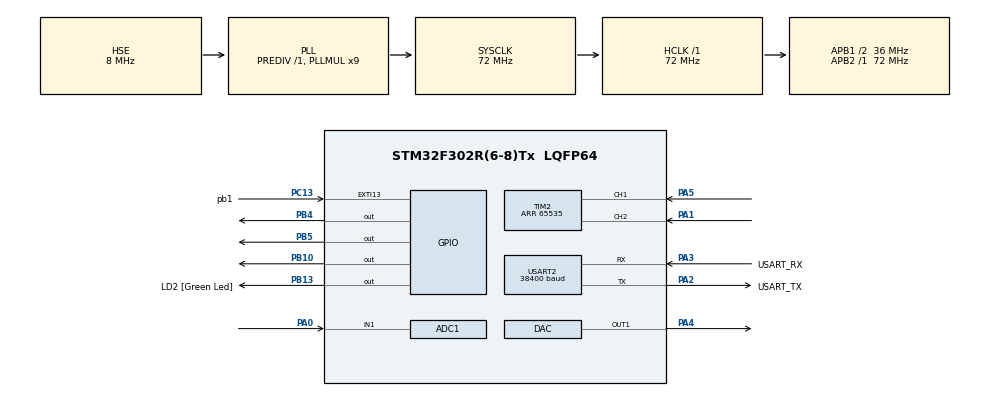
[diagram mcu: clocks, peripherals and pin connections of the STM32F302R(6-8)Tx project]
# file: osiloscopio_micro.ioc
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ADC1.Channel-1\#ChannelRegularConversion=ADC_CHANNEL_1
ADC1.ContinuousConvMode=ENABLE
ADC1.DMAContinuousRequests=ENABLE
ADC1.NbrOfConversionFlag=1
ADC1.Offset-1\#ChannelRegularConversion=0
ADC1.OffsetNumber-1\#ChannelRegularConversion=ADC_OFFSET_NONE
ADC1.Rank-1\#ChannelRegularConversion=1
ADC1.SamplingTime-1\#ChannelRegularConversion=ADC_SAMPLETIME_601CYCLES_5
ADC1.SamplingTimeOPAMP-1\#ChannelRegularConversion=ADC_SAMPLETIME_61CYCLES_5
ADC1.SubFamily=STM32F302x8
ADC1.master=1
DAC.DAC_Trigger=DAC_TRIGGER_T15_TRGO
Dma.ADC1.0.Direction=DMA_PERIPH_TO_MEMORY
Dma.ADC1.0.Instance=DMA1_Channel1
Dma.ADC1.0.MemDataAlignment=DMA_MDATAALIGN_WORD
Dma.ADC1.0.MemInc=DMA_MINC_ENABLE
Dma.ADC1.0.Mode=DMA_CIRCULAR
Dma.ADC1.0.PeriphDataAlignment=DMA_PDATAALIGN_WORD
Dma.ADC1.0.PeriphInc=DMA_PINC_DISABLE
Dma.ADC1.0.Priority=DMA_PRIORITY_LOW
Dma.DAC_CH1.1.Direction=DMA_MEMORY_TO_PERIPH
Dma.DAC_CH1.1.Instance=DMA1_Channel3
Dma.DAC_CH1.1.MemDataAlignment=DMA_MDATAALIGN_WORD
Dma.DAC_CH1.1.MemInc=DMA_MINC_ENABLE
Dma.DAC_CH1.1.Mode=DMA_CIRCULAR
Dma.DAC_CH1.1.PeriphDataAlignment=DMA_PDATAALIGN_WORD
Dma.DAC_CH1.1.PeriphInc=DMA_PINC_DISABLE
Dma.DAC_CH1.1.Priority=DMA_PRIORITY_LOW
Dma.Request0=ADC1
Dma.Request1=DAC_CH1
Mcu.Family=STM32F3
Mcu.Name=STM32F302R(6-8)Tx
Mcu.Package=LQFP64
NVIC.DMA1_Channel1_IRQn=true\:0\:0\:false\:false\:true\:false\:true\:true
NVIC.DMA1_Channel3_IRQn=true\:0\:0\:false\:false\:true\:false\:true\:true
NVIC.EXTI15_10_IRQn=true\:0\:0\:false\:false\:true\:true\:true\:true
NVIC.PriorityGroup=NVIC_PRIORITYGROUP_0
NVIC.TIM2_IRQn=true\:0\:0\:false\:false\:true\:true\:true\:true
PA0.Mode=IN1-Single-Ended
PA0.Signal=ADC1_IN1
PA1.Signal=S_TIM2_CH2
PA13.GPIO_Label=TMS
PA13.Mode=Serial_Wire
PA13.Signal=SYS_JTMS-SWDIO
PA14.GPIO_Label=TCK
PA14.Mode=Serial_Wire
PA14.Signal=SYS_JTCK-SWCLK
PA2.GPIO_Label=USART_TX
PA2.GPIO_Mode=GPIO_MODE_AF_PP
PA2.GPIO_PuPd=GPIO_NOPULL
PA2.GPIO_Speed=GPIO_SPEED_FREQ_LOW
PA2.Mode=Asynchronous
PA2.Signal=USART2_TX
PA3.GPIO_Label=USART_RX
PA3.GPIO_Mode=GPIO_MODE_AF_PP
PA3.GPIO_PuPd=GPIO_NOPULL
PA3.GPIO_Speed=GPIO_SPEED_FREQ_LOW
PA3.Mode=Asynchronous
PA3.Signal=USART2_RX
PA4.Signal=COMP_DAC1_group
PA5.Signal=S_TIM2_CH1_ETR
PB10.Signal=GPIO_Output
PB13.GPIO_Label=LD2 [Green Led]
PB13.Signal=GPIO_Output
PB3.GPIO_Label=SWO
PB3.Mode=Trace_Asynchronous_SW
PB3.Signal=SYS_JTDO-TRACESWO
PB4.Signal=GPIO_Output
PB5.Signal=GPIO_Output
PC13.GPIO_Label=pb1
PC13.Signal=GPXTI13
PC14\ -\ OSC32_IN.Signal=RCC_OSC32_IN
PC15\ -\ OSC32_OUT.Signal=RCC_OSC32_OUT
PF0-OSC_IN.Mode=HSE-External-Oscillator
PF0-OSC_IN.Signal=RCC_OSC_IN
PF1-OSC_OUT.Mode=HSE-External-Oscillator
PF1-OSC_OUT.Signal=RCC_OSC_OUT
ProjectManager.HeapSize=0x200
ProjectManager.StackSize=0x400
ProjectManager.TargetToolchain=STM32CubeIDE
RCC.AHBFreq_Value=72000000
RCC.APB1CLKDivider=RCC_HCLK_DIV2
RCC.APB1Freq_Value=36000000
RCC.APB1TimFreq_Value=72000000
RCC.APB2Freq_Value=72000000
RCC.APB2TimFreq_Value=72000000
RCC.CortexFreq_Value=72000000
RCC.HCLKFreq_Value=72000000
RCC.HSE_VALUE=8000000
RCC.HSI_VALUE=8000000
RCC.LSE_VALUE=32768
RCC.PLLM=8
RCC.PLLMUL=RCC_PLL_MUL9
RCC.PLLN=336
RCC.PLLP=RCC_PLLP_DIV4
RCC.PLLQ=7
RCC.PLLSourceVirtual=RCC_PLLSOURCE_HSE
RCC.SYSCLKFreq_VALUE=72000000
RCC.SYSCLKSourceVirtual=RCC_SYSCLKSOURCE_PLLCLK
RCC.USBFreq_Value=72000000
SH.COMP_DAC1_group.0=DAC_OUT1,DAC_OUT1
SH.S_TIM2_CH1_ETR.0=TIM2_CH1,Encoder_Interface
SH.S_TIM2_CH2.0=TIM2_CH2,Encoder_Interface
TIM15.Period=100
TIM15.Prescaler=72-1
TIM15.TIM_MasterOutputTrigger=TIM_TRGO_UPDATE
TIM2.EncoderMode=TIM_ENCODERMODE_TI12
TIM2.IC1Polarity=TIM_ICPOLARITY_FALLING
TIM2.IC2Polarity=TIM_ICPOLARITY_FALLING
TIM2.Period=65535
USART2.BaudRate=38400
USART2.VirtualMode-Asynchronous=VM_ASYNC
VP_TIM15_VS_ClockSourceINT.Mode=Internal
board=NUCLEO-F302R8

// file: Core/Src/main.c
/**************************************************************/

/**

               Instituto Tecnológico de Las Américas (ITLA)

                    Nombre: Julio de la Rosa Pérez

                         Matrícula: 2018-6732

                     Materia: Microcontroladores

                       Profesor: Wilkin Cedano

********************************************************************/
/* USER CODE END Header */
#include "main.h"

/* USER CODE BEGIN Includes */
#include "max_matrix_stm32.h"
#include <stdio.h>
#include <math.h>
#include <string.h>
/* USER CODE END Includes */

ADC_HandleTypeDef hadc1;
DMA_HandleTypeDef hdma_adc1;

DAC_HandleTypeDef hdac;
DMA_HandleTypeDef hdma_dac_ch1;

TIM_HandleTypeDef htim2;
TIM_HandleTypeDef htim15;

UART_HandleTypeDef huart2;

/* USER CODE BEGIN PV */
uint32_t adc;
char valor[11];
uint8_t offset = 0;
int encendido[8][8];
int onda = 0;
int voldiv = 0;
int boton = 0;
int pastpos = 0;
int read = 0;
int write = 0;
/* USER CODE END PV */

void SystemClock_Config(void);
static void MX_GPIO_Init(void);
static void MX_DMA_Init(void);
static void MX_USART2_UART_Init(void);
static void MX_TIM2_Init(void);
static void MX_ADC1_Init(void);
static void MX_DAC_Init(void);
static void MX_TIM15_Init(void);

/* USER CODE BEGIN 0 */
uint32_t counter = 0;
int16_t count = 0;
int16_t position = 0;

	void HAL_TIM_IC_CaptureCallback(TIM_HandleTypeDef *htim)
	{

	counter = __HAL_TIM_GET_COUNTER(htim);
	count = (int16_t)counter;
	position = count/4;
	}

/* USER CODE END 0 */

int main(void)
{

  /* MCU Configuration--------------------------------------------------------*/

  /* Reset of all peripherals, Initializes the Flash interface and the Systick. */
  HAL_Init();

  /* Configure the system clock */
  SystemClock_Config();

  /* Initialize all configured peripherals */
  MX_GPIO_Init();
  MX_DMA_Init();
  MX_USART2_UART_Init();
  MX_TIM2_Init();
  MX_ADC1_Init();
  MX_DAC_Init();
  MX_TIM15_Init();
  /* USER CODE BEGIN 2 */
  max_init(0x01);
  HAL_ADC_Start_DMA(&hadc1, &adc, 1);
  HAL_TIM_Encoder_Start_IT(&htim2, TIM_CHANNEL_ALL);
  /* USER CODE END 2 */

  /* Infinite loop */
  /* USER CODE BEGIN WHILE */
  	  while (1)
  	  {
  		 sprintf(valor, "%u\n",adc);
  		 uint8_t length = strlen(valor);
  		 HAL_UART_Transmit(&huart2, (uint8_t*)valor,length, 100);

  		if (!HAL_GPIO_ReadPin(pb1_GPIO_Port, pb1_Pin)){
  			boton++;
  			HAL_Delay(50);
  		}
if (boton == 0 && position > pastpos){
	read++;

}
else if (boton == 0 && position < pastpos){
	read--;
if (read <= 1){
		read = 1;
	}
}
if (boton == 1 && position > pastpos ){
	write++;
}
else if (boton == 1 && position < pastpos ){
	write--;

	if (write <= 1){
		write = 1;
	}
}
position = pastpos;

   		//HAL_Delay(100 + count);
  		int rangos[] = {250, 720, 1260, 1780, 2280, 2780, 3280, 3780, 4000};

  		for (int i = 0; i < 8; i++) {
  		    if (adc >= (rangos[i]/ (read*0.20)) && adc <= (rangos[i+1]/ (read *0.20))) {
  		        encendido[i][onda] = 1;
  		    } else {
  		        encendido[i][onda] = 0;
  		    }
  		}

  		for (int b = 0; b < 8; b++) {
  		    for (int i = 0; i < 8; i++) {
  		        if (encendido[i][b] == 1) {
  		            setled(i, b, 1);
  		        } else {
  		            setled(i, b, 0);
  		        }
  		    }
  		}

  			HAL_Delay(60 + write);

  		if (boton >= 2){
  			HAL_Delay(50);
  			boton = 0;
  		}
  		onda++;
  		HAL_Delay(30);
  		if (onda > 7) {
  		    onda = 0;
  		}

  	  }
    /* USER CODE END WHILE */

   }
//}

void SystemClock_Config(void)
{
  RCC_OscInitTypeDef RCC_OscInitStruct = {0};
  RCC_ClkInitTypeDef RCC_ClkInitStruct = {0};
  RCC_PeriphCLKInitTypeDef PeriphClkInit = {0};

  /** Initializes the RCC Oscillators according to the specified parameters
  * in the RCC_OscInitTypeDef structure.
  */
  RCC_OscInitStruct.OscillatorType = RCC_OSCILLATORTYPE_HSE;
  RCC_OscInitStruct.HSEState = RCC_HSE_ON;
  RCC_OscInitStruct.HSEPredivValue = RCC_HSE_PREDIV_DIV1;
  RCC_OscInitStruct.HSIState = RCC_HSI_ON;
  RCC_OscInitStruct.PLL.PLLState = RCC_PLL_ON;
  RCC_OscInitStruct.PLL.PLLSource = RCC_PLLSOURCE_HSE;
  RCC_OscInitStruct.PLL.PLLMUL = RCC_PLL_MUL9;
  if (HAL_RCC_OscConfig(&RCC_OscInitStruct) != HAL_OK)
  {
    Error_Handler();
  }

  /** Initializes the CPU, AHB and APB buses clocks
  */
  RCC_ClkInitStruct.ClockType = RCC_CLOCKTYPE_HCLK|RCC_CLOCKTYPE_SYSCLK
                              |RCC_CLOCKTYPE_PCLK1|RCC_CLOCKTYPE_PCLK2;
  RCC_ClkInitStruct.SYSCLKSource = RCC_SYSCLKSOURCE_PLLCLK;
  RCC_ClkInitStruct.AHBCLKDivider = RCC_SYSCLK_DIV1;
  RCC_ClkInitStruct.APB1CLKDivider = RCC_HCLK_DIV2;
  RCC_ClkInitStruct.APB2CLKDivider = RCC_HCLK_DIV1;

  if (HAL_RCC_ClockConfig(&RCC_ClkInitStruct, FLASH_LATENCY_2) != HAL_OK)
  {
    Error_Handler();
  }
  PeriphClkInit.PeriphClockSelection = RCC_PERIPHCLK_TIM15|RCC_PERIPHCLK_ADC1;
  PeriphClkInit.Tim15ClockSelection = RCC_TIM15CLK_HCLK;
  PeriphClkInit.Adc1ClockSelection = RCC_ADC1PLLCLK_DIV1;

  if (HAL_RCCEx_PeriphCLKConfig(&PeriphClkInit) != HAL_OK)
  {
    Error_Handler();
  }
}

static void MX_ADC1_Init(void)
{

  ADC_ChannelConfTypeDef sConfig = {0};

  /** Common config
  */
  hadc1.Instance = ADC1;
  hadc1.Init.ClockPrescaler = ADC_CLOCK_ASYNC_DIV1;
  hadc1.Init.Resolution = ADC_RESOLUTION_12B;
  hadc1.Init.ScanConvMode = ADC_SCAN_DISABLE;
  hadc1.Init.ContinuousConvMode = ENABLE;
  hadc1.Init.DiscontinuousConvMode = DISABLE;
  hadc1.Init.ExternalTrigConvEdge = ADC_EXTERNALTRIGCONVEDGE_NONE;
  hadc1.Init.ExternalTrigConv = ADC_SOFTWARE_START;
  hadc1.Init.DataAlign = ADC_DATAALIGN_RIGHT;
  hadc1.Init.NbrOfConversion = 1;
  hadc1.Init.DMAContinuousRequests = ENABLE;
  hadc1.Init.EOCSelection = ADC_EOC_SINGLE_CONV;
  hadc1.Init.LowPowerAutoWait = DISABLE;
  hadc1.Init.Overrun = ADC_OVR_DATA_OVERWRITTEN;
  if (HAL_ADC_Init(&hadc1) != HAL_OK)
  {
    Error_Handler();
  }

  /** Configure Regular Channel
  */
  sConfig.Channel = ADC_CHANNEL_1;
  sConfig.Rank = ADC_REGULAR_RANK_1;
  sConfig.SingleDiff = ADC_SINGLE_ENDED;
  sConfig.SamplingTime = ADC_SAMPLETIME_601CYCLES_5;
  sConfig.OffsetNumber = ADC_OFFSET_NONE;
  sConfig.Offset = 0;
  if (HAL_ADC_ConfigChannel(&hadc1, &sConfig) != HAL_OK)
  {
    Error_Handler();
  }

}

static void MX_DAC_Init(void)
{

  DAC_ChannelConfTypeDef sConfig = {0};

  /** DAC Initialization
  */
  hdac.Instance = DAC;
  if (HAL_DAC_Init(&hdac) != HAL_OK)
  {
    Error_Handler();
  }

  /** DAC channel OUT1 config
  */
  sConfig.DAC_Trigger = DAC_TRIGGER_T15_TRGO;
  sConfig.DAC_OutputBuffer = DAC_OUTPUTBUFFER_ENABLE;
  if (HAL_DAC_ConfigChannel(&hdac, &sConfig, DAC_CHANNEL_1) != HAL_OK)
  {
    Error_Handler();
  }

}

static void MX_TIM2_Init(void)
{

  TIM_Encoder_InitTypeDef sConfig = {0};
  TIM_MasterConfigTypeDef sMasterConfig = {0};

  htim2.Instance = TIM2;
  htim2.Init.Prescaler = 0;
  htim2.Init.CounterMode = TIM_COUNTERMODE_UP;
  htim2.Init.Period = 65535;
  htim2.Init.ClockDivision = TIM_CLOCKDIVISION_DIV1;
  htim2.Init.AutoReloadPreload = TIM_AUTORELOAD_PRELOAD_DISABLE;
  sConfig.EncoderMode = TIM_ENCODERMODE_TI12;
  sConfig.IC1Polarity = TIM_ICPOLARITY_FALLING;
  sConfig.IC1Selection = TIM_ICSELECTION_DIRECTTI;
  sConfig.IC1Prescaler = TIM_ICPSC_DIV1;
  sConfig.IC1Filter = 0;
  sConfig.IC2Polarity = TIM_ICPOLARITY_FALLING;
  sConfig.IC2Selection = TIM_ICSELECTION_DIRECTTI;
  sConfig.IC2Prescaler = TIM_ICPSC_DIV1;
  sConfig.IC2Filter = 0;
  if (HAL_TIM_Encoder_Init(&htim2, &sConfig) != HAL_OK)
  {
    Error_Handler();
  }
  sMasterConfig.MasterOutputTrigger = TIM_TRGO_RESET;
  sMasterConfig.MasterSlaveMode = TIM_MASTERSLAVEMODE_DISABLE;
  if (HAL_TIMEx_MasterConfigSynchronization(&htim2, &sMasterConfig) != HAL_OK)
  {
    Error_Handler();
  }

}

static void MX_TIM15_Init(void)
{

  TIM_ClockConfigTypeDef sClockSourceConfig = {0};
  TIM_MasterConfigTypeDef sMasterConfig = {0};

  htim15.Instance = TIM15;
  htim15.Init.Prescaler = 72-1;
  htim15.Init.CounterMode = TIM_COUNTERMODE_UP;
  htim15.Init.Period = 100;
  htim15.Init.ClockDivision = TIM_CLOCKDIVISION_DIV1;
  htim15.Init.RepetitionCounter = 0;
  htim15.Init.AutoReloadPreload = TIM_AUTORELOAD_PRELOAD_DISABLE;
  if (HAL_TIM_Base_Init(&htim15) != HAL_OK)
  {
    Error_Handler();
  }
  sClockSourceConfig.ClockSource = TIM_CLOCKSOURCE_INTERNAL;
  if (HAL_TIM_ConfigClockSource(&htim15, &sClockSourceConfig) != HAL_OK)
  {
    Error_Handler();
  }
  sMasterConfig.MasterOutputTrigger = TIM_TRGO_UPDATE;
  sMasterConfig.MasterSlaveMode = TIM_MASTERSLAVEMODE_DISABLE;
  if (HAL_TIMEx_MasterConfigSynchronization(&htim15, &sMasterConfig) != HAL_OK)
  {
    Error_Handler();
  }

}

static void MX_USART2_UART_Init(void)
{

  huart2.Instance = USART2;
  huart2.Init.BaudRate = 38400;
  huart2.Init.WordLength = UART_WORDLENGTH_8B;
  huart2.Init.StopBits = UART_STOPBITS_1;
  huart2.Init.Parity = UART_PARITY_NONE;
  huart2.Init.Mode = UART_MODE_TX_RX;
  huart2.Init.HwFlowCtl = UART_HWCONTROL_NONE;
  huart2.Init.OverSampling = UART_OVERSAMPLING_16;
  huart2.Init.OneBitSampling = UART_ONE_BIT_SAMPLE_DISABLE;
  huart2.AdvancedInit.AdvFeatureInit = UART_ADVFEATURE_NO_INIT;
  if (HAL_UART_Init(&huart2) != HAL_OK)
  {
    Error_Handler();
  }

}

static void MX_DMA_Init(void)
{

  /* DMA controller clock enable */
  __HAL_RCC_DMA1_CLK_ENABLE();

  /* DMA interrupt init */
  /* DMA1_Channel1_IRQn interrupt configuration */
  HAL_NVIC_SetPriority(DMA1_Channel1_IRQn, 0, 0);
  HAL_NVIC_EnableIRQ(DMA1_Channel1_IRQn);
  /* DMA1_Channel3_IRQn interrupt configuration */
  HAL_NVIC_SetPriority(DMA1_Channel3_IRQn, 0, 0);
  HAL_NVIC_EnableIRQ(DMA1_Channel3_IRQn);

}

static void MX_GPIO_Init(void)
{
  GPIO_InitTypeDef GPIO_InitStruct = {0};

  /* GPIO Ports Clock Enable */
  __HAL_RCC_GPIOC_CLK_ENABLE();
  __HAL_RCC_GPIOF_CLK_ENABLE();
  __HAL_RCC_GPIOA_CLK_ENABLE();
  __HAL_RCC_GPIOB_CLK_ENABLE();

  /*Configure GPIO pin Output Level */
  HAL_GPIO_WritePin(GPIOB, GPIO_PIN_10|LD2_Pin|GPIO_PIN_4|GPIO_PIN_5, GPIO_PIN_RESET);

  /*Configure GPIO pin : pb1_Pin */
  GPIO_InitStruct.Pin = pb1_Pin;
  GPIO_InitStruct.Mode = GPIO_MODE_IT_RISING;
  GPIO_InitStruct.Pull = GPIO_NOPULL;
  HAL_GPIO_Init(pb1_GPIO_Port, &GPIO_InitStruct);

  /*Configure GPIO pins : PB10 LD2_Pin PB4 PB5 */
  GPIO_InitStruct.Pin = GPIO_PIN_10|LD2_Pin|GPIO_PIN_4|GPIO_PIN_5;
  GPIO_InitStruct.Mode = GPIO_MODE_OUTPUT_PP;
  GPIO_InitStruct.Pull = GPIO_NOPULL;
  GPIO_InitStruct.Speed = GPIO_SPEED_FREQ_LOW;
  HAL_GPIO_Init(GPIOB, &GPIO_InitStruct);

  /* EXTI interrupt init*/
  HAL_NVIC_SetPriority(EXTI15_10_IRQn, 0, 0);
  HAL_NVIC_EnableIRQ(EXTI15_10_IRQn);

}

void Error_Handler(void)
{
  __disable_irq();
  while (1)
  {
  }
}
